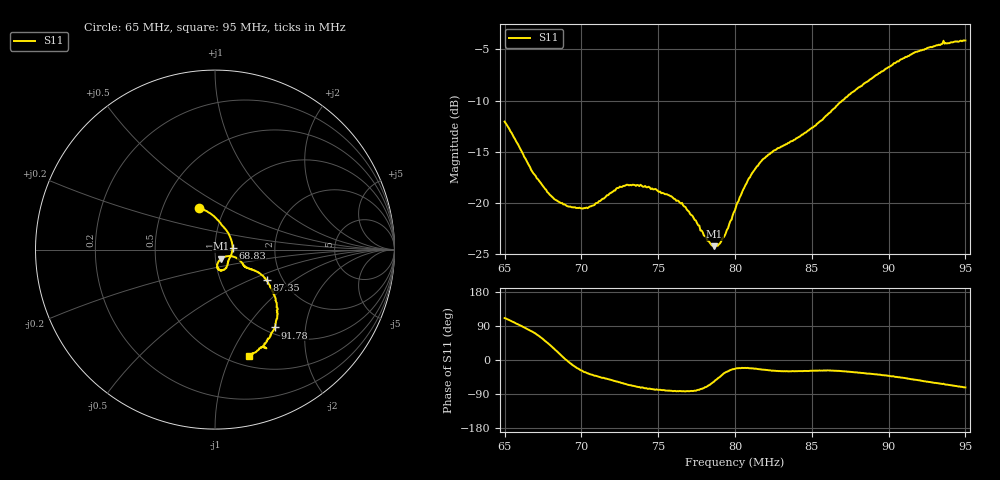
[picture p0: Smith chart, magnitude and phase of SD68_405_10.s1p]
! NanoVNA-App
! Date: 2025-08-02 16:40:54
! Start: 65MHz Stop: 95MHz Points: 401
! S-Parameter data: F S11
# Hz S RI R 50
!  Frequency  S11_Real  S11_Imag
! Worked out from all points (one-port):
!   401 points, 65 MHz to 95 MHz, reference 50 ohm
!   lowest |S11| = -24.2 dB at 78.65 MHz (marker M1), VSWR 1.13, Z = 53.2 - j5.48 ohm
!   |S11| at or under -10 dB: start of sweep to 86.98 MHz
!   S11 on the Smith chart (normalised r, x): 65 MHz: 0.76, +0.38; 68.83 MHz: 1.22, +0.03; 87.35 MHz: 1.65, -0.63; 91.78 MHz: 1.11, -1.37; 95 MHz: 0.61, -1.17
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6.5e7  -0.0876 0.2337
6.605e7  -0.00222 0.1821
6.695e7  0.0438 0.1303
6.7925e7  0.0833 0.0717
6.875e7  0.0984 0.0168
6.8825e7  0.0976 0.0117
7.04e7  0.077 -0.0543
7.25e7  0.0625 -0.1026
7.3325e7  0.0459 -0.1137
7.43e7  0.0291 -0.1157
7.625e7  0.0142 -0.1017
7.685e7  0.0128 -0.0923
7.835e7  0.0262 -0.0584
7.865e7  0.0339 -0.0512
7.9175e7  0.052 -0.042
8e7  0.0846 -0.0364
8.075e7  0.1161 -0.0452
8.1725e7  0.1453 -0.0682
8.2625e7  0.1595 -0.0862
8.375e7  0.1751 -0.0981
8.5925e7  0.2358 -0.1244
8.735e7  0.287 -0.1698
8.75e7  0.2908 -0.1764
8.99e7  0.3437 -0.2992
9.125e7  0.3416 -0.3944
9.1775e7  0.334 -0.4337
9.3575e7  0.2867 -0.5501
9.5e7  0.1879 -0.593
